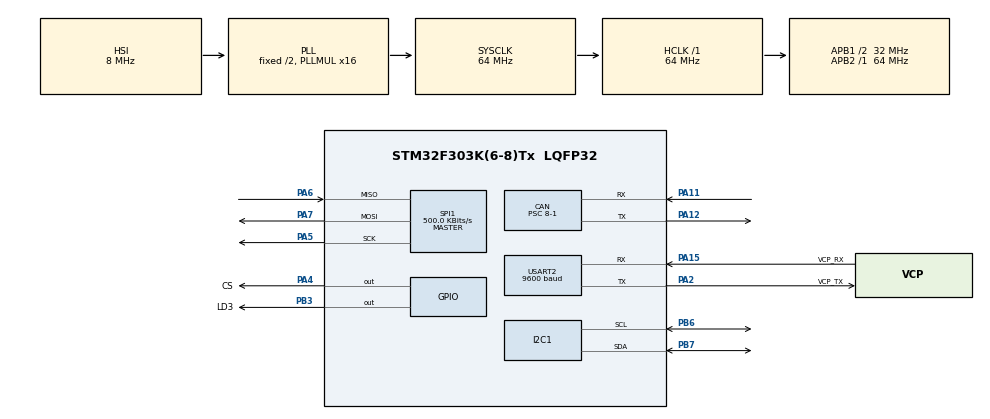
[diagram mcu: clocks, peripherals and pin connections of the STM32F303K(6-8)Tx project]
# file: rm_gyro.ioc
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CAN.BS1=CAN_BS1_2TQ
CAN.BS2=CAN_BS2_3TQ
CAN.CalculateTimeQuantum=218.75
CAN.NART=DISABLE
CAN.Prescaler=8-1
CAN.TXFP=ENABLE
Mcu.Family=STM32F3
Mcu.Name=STM32F303K(6-8)Tx
Mcu.Package=LQFP32
NVIC.PriorityGroup=NVIC_PRIORITYGROUP_4
NVIC.TIM6_DAC1_IRQn=true\:1\:0\:true\:false\:true\:true\:true
PA11.Mode=Master
PA11.Signal=CAN_RX
PA12.Mode=Master
PA12.Signal=CAN_TX
PA13.GPIO_Label=SWDIO
PA13.Mode=Serial_Wire
PA13.Signal=SYS_JTMS-SWDIO
PA14.GPIO_Label=SWCLK
PA14.Mode=Serial_Wire
PA14.Signal=SYS_JTCK-SWCLK
PA15.GPIO_Label=VCP_RX
PA15.Mode=Asynchronous
PA15.Signal=USART2_RX
PA2.GPIO_Label=VCP_TX
PA2.Mode=Asynchronous
PA2.Signal=USART2_TX
PA4.GPIO_Label=CS
PA4.Signal=GPIO_Output
PA5.Mode=Full_Duplex_Master
PA5.Signal=SPI1_SCK
PA6.Mode=Full_Duplex_Master
PA6.Signal=SPI1_MISO
PA7.Mode=Full_Duplex_Master
PA7.Signal=SPI1_MOSI
PB3.GPIO_Label=LD3
PB3.Signal=GPIO_Output
PB6.Mode=I2C
PB6.Signal=I2C1_SCL
PB7.Mode=I2C
PB7.Signal=I2C1_SDA
PF0\ /\ OSC_IN.GPIO_Label=MCO
PF0\ /\ OSC_IN.Mode=HSE-External-Clock-Source
PF0\ /\ OSC_IN.Signal=RCC_OSC_IN
ProjectManager.HeapSize=0x200
ProjectManager.StackSize=0x400
ProjectManager.TargetToolchain=STM32CubeIDE
RCC.AHBFreq_Value=64000000
RCC.APB1CLKDivider=RCC_HCLK_DIV2
RCC.APB1Freq_Value=32000000
RCC.APB1TimFreq_Value=64000000
RCC.APB2Freq_Value=64000000
RCC.APB2TimFreq_Value=64000000
RCC.CortexFreq_Value=64000000
RCC.HCLKFreq_Value=64000000
RCC.HSE_VALUE=8000000
RCC.HSI_VALUE=8000000
RCC.PLLMUL=RCC_PLL_MUL16
RCC.SYSCLKFreq_VALUE=64000000
RCC.SYSCLKSourceVirtual=RCC_SYSCLKSOURCE_PLLCLK
SPI1.BaudRatePrescaler=SPI_BAUDRATEPRESCALER_128
SPI1.CLKPhase=SPI_PHASE_2EDGE
SPI1.CLKPolarity=SPI_POLARITY_HIGH
SPI1.CalculateBaudRate=500.0 KBits/s
SPI1.DataSize=SPI_DATASIZE_8BIT
SPI1.Direction=SPI_DIRECTION_2LINES
SPI1.Mode=SPI_MODE_MASTER
SPI1.VirtualType=VM_MASTER
TIM6.Period=1000-1
TIM6.Prescaler=64-1
USART2.BaudRate=9600
USART2.VirtualMode-Asynchronous=VM_ASYNC
VP_TIM6_VS_ClockSourceINT.Mode=Enable_Timer
board=NUCLEO-F303K8

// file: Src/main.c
/* USER CODE BEGIN Header */
/**
  ******************************************************************************
  * @file           : main.c
  * @brief          : Main program body
  ******************************************************************************
  * @attention
  *
  * <h2><center>&copy; Copyright (c) 2019 STMicroelectronics.
  * All rights reserved.</center></h2>
  *
  * This software component is licensed by ST under BSD 3-Clause license,
  * the "License"; You may not use this file except in compliance with the
  * License. You may obtain a copy of the License at:
  *                        opensource.org/licenses/BSD-3-Clause
  *
  ******************************************************************************
  */
/* USER CODE END Header */

#include "main.h"
#include "can.h"
#include "i2c.h"
#include "spi.h"
#include "tim.h"
#include "usart.h"
#include "gpio.h"

/* USER CODE BEGIN Includes */
#include "System/mainsystem.h"
#include "System/gyro.h"
/* USER CODE END Includes */

void SystemClock_Config(void);

/* USER CODE BEGIN 0 */
int __io_putchar(int c) {
  if( c == '\n' ) {
    int _c = '\r';
    HAL_UART_Transmit(&huart2, &_c, 1, 1);
  }
  HAL_UART_Transmit(&huart2, &c, 1, 1);
  return 0;
}

void HAL_TIM_PeriodElapsedCallback(TIM_HandleTypeDef *htim)
{
	if(htim->Instance == htim6.Instance){
		omega_yaw = ReadGyroYaw() - gyro_base_yaw;
		omega_roll = ReadGyroRoll() - gyro_base_roll;
		omega_pitch = ReadGyroPitch() - gyro_base_pitch;

		angle_degree_yaw += omega_yaw * 0.001;
		angle_degree_roll += omega_roll * 0.001;
		angle_degree_pitch += omega_pitch * 0.001;
	}	//---htim6 End---
}

/* USER CODE END 0 */

int main(void)
{

  /* MCU Configuration--------------------------------------------------------*/

  /* Reset of all peripherals, Initializes the Flash interface and the Systick. */
  HAL_Init();

  /* Configure the system clock */
  SystemClock_Config();

  /* Initialize all configured peripherals */
  MX_GPIO_Init();
  MX_CAN_Init();
  MX_SPI1_Init();
  MX_USART2_UART_Init();
  MX_I2C1_Init();
  MX_TIM6_Init();
  /* USER CODE BEGIN 2 */

  MainSystem();

  /* USER CODE END 2 */

  /* Infinite loop */
  while (1)
  {

  }
}

void SystemClock_Config(void)
{
  RCC_OscInitTypeDef RCC_OscInitStruct = {0};
  RCC_ClkInitTypeDef RCC_ClkInitStruct = {0};
  RCC_PeriphCLKInitTypeDef PeriphClkInit = {0};

  /** Initializes the CPU, AHB and APB busses clocks
  */
  RCC_OscInitStruct.OscillatorType = RCC_OSCILLATORTYPE_HSI;
  RCC_OscInitStruct.HSIState = RCC_HSI_ON;
  RCC_OscInitStruct.HSICalibrationValue = RCC_HSICALIBRATION_DEFAULT;
  RCC_OscInitStruct.PLL.PLLState = RCC_PLL_ON;
  RCC_OscInitStruct.PLL.PLLSource = RCC_PLLSOURCE_HSI;
  RCC_OscInitStruct.PLL.PLLMUL = RCC_PLL_MUL16;
  if (HAL_RCC_OscConfig(&RCC_OscInitStruct) != HAL_OK)
  {
    Error_Handler();
  }
  /** Initializes the CPU, AHB and APB busses clocks
  */
  RCC_ClkInitStruct.ClockType = RCC_CLOCKTYPE_HCLK|RCC_CLOCKTYPE_SYSCLK
                              |RCC_CLOCKTYPE_PCLK1|RCC_CLOCKTYPE_PCLK2;
  RCC_ClkInitStruct.SYSCLKSource = RCC_SYSCLKSOURCE_PLLCLK;
  RCC_ClkInitStruct.AHBCLKDivider = RCC_SYSCLK_DIV1;
  RCC_ClkInitStruct.APB1CLKDivider = RCC_HCLK_DIV2;
  RCC_ClkInitStruct.APB2CLKDivider = RCC_HCLK_DIV1;

  if (HAL_RCC_ClockConfig(&RCC_ClkInitStruct, FLASH_LATENCY_2) != HAL_OK)
  {
    Error_Handler();
  }
  PeriphClkInit.PeriphClockSelection = RCC_PERIPHCLK_I2C1;
  PeriphClkInit.I2c1ClockSelection = RCC_I2C1CLKSOURCE_HSI;
  if (HAL_RCCEx_PeriphCLKConfig(&PeriphClkInit) != HAL_OK)
  {
    Error_Handler();
  }
}

void Error_Handler(void)
{
}

/************************ (C) COPYRIGHT STMicroelectronics *****END OF FILE****/
